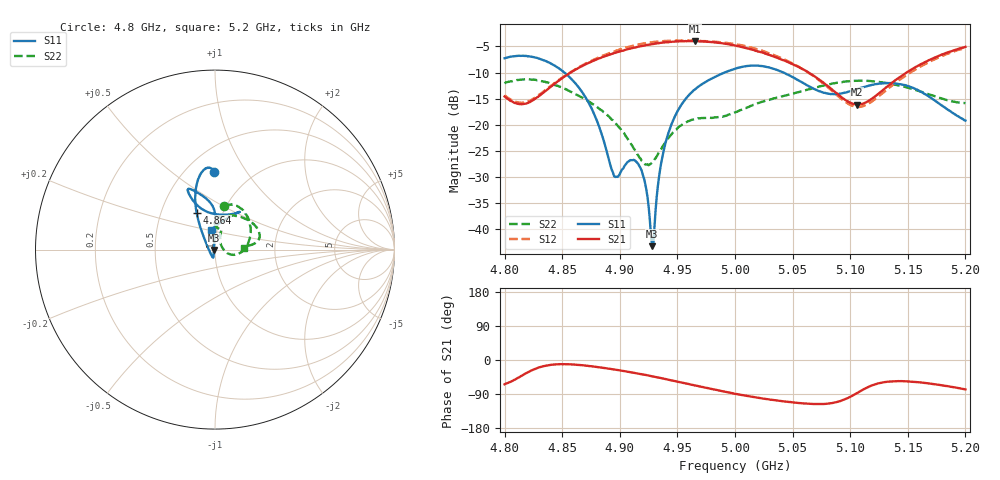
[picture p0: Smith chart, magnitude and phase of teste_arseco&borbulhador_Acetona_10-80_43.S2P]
! Network Analyzer HP8722D
! Hewlett-Packard
! Data name: Linha & Wilkinson
! Saver's name: Rodrigo Anjos
! Comments: Teste da utilização de aquisição
! continua pelo VNA HP8722D
! Time and date: 25/4/2025 15:37
!  Frequency  S11  S21  S12  S22
# HZ  S  MA R 50
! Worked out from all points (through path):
!   401 points, 4.8 GHz to 5.2 GHz, reference 50 ohm
!   highest |S21| = -3.96 dB at 4.965 GHz (marker M1); lowest = -16.1 dB at 5.106 GHz (marker M2)
!   lowest |S11| = -43.3 dB at 4.928 GHz (marker M3), VSWR 1.01, Z = 49.3 - j0.198 ohm
!   |S11| at or under -10 dB: 4.852 GHz to 4.991 GHz (139 MHz wide, 2.82 % of centre); 5.042 GHz to end of sweep
!   |S22| runs from -27.7 to -11.3 dB; largest |S21 - S12| = 1.2
!   S11 on the Smith chart (normalised r, x): 4.8 GHz: 0.68, +0.72; 4.864 GHz: 0.75, +0.33; 5.2 GHz: 0.94, +0.21
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4.8e9  0.4334 90.5  0.1865 -64.0  0.1912 69.6  0.2485 77.7
4.82e9  0.4527 96.8  0.1614 -32.6  0.1672 98.4  0.2716 62.0
4.864e9  0.2306 116.5  0.3495 -12.9  0.353 120.9  0.1904 12.0
4.867e9  0.2076 118.1  0.3633 -13.8  0.3684 120.7  0.1832 8.6
4.88e9  0.1103 128.4  0.423 -18.4  0.4331 118.2  0.1485 -5.3
4.895e9  0.03224 -172.8  0.4868 -24.9  0.5024 113.8  0.1067 -15.8
4.91e9  0.04586 -105.3  0.5399 -32.5  0.5658 107.3  0.06473 -14.1
4.917e9  0.04026 -101.4  0.5631 -36.5  0.59 103.6  0.0486 -1.2
4.923e9  0.02408 -107.3  0.5802 -39.8  0.6076 100.0  0.04163 19.8
4.928e9  0.006872 -163.0  0.5914 -42.9  0.6173 97.1  0.04344 41.0
4.93e9  0.01019 123.9  0.5967 -44.2  0.6212 95.7  0.04626 48.0
4.934e9  0.03135 98.5  0.6045 -46.8  0.629 93.1  0.05457 58.6
4.939e9  0.06234 92.3  0.6158 -49.9  0.635 90.0  0.06631 65.6
4.946e9  0.1083 89.3  0.626 -54.5  0.6389 85.6  0.08403 70.3
4.965e9  0.2169 90.8  0.6342 -67.0  0.6384 73.5  0.1135 71.7
5e9  0.3442 109.0  0.5742 -89.0  0.5929 50.7  0.1313 88.6
5.029e9  0.3556 115.0  0.4694 -103.8  0.4864 34.2  0.1728 85.8
5.067e9  0.2253 105.0  0.3017 -116.0  0.2989 23.6  0.2224 57.1
5.106e9  0.2192 64.2  0.1563 -87.1  0.1484 55.9  0.2633 24.9
5.134e9  0.2506 57.0  0.2407 -56.8  0.2266 88.7  0.2481 12.4
5.168e9  0.1877 68.7  0.4142 -61.7  0.397 85.2  0.1962 7.0
5.2e9  0.1096 100.3  0.5569 -77.5  0.5455 70.1  0.1607 3.9
